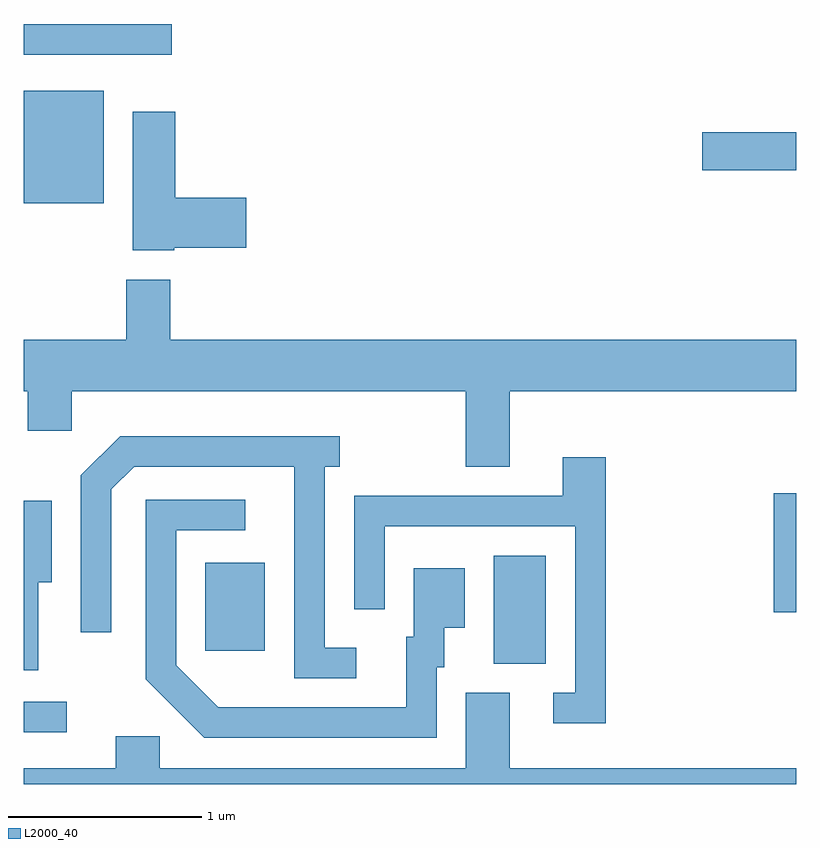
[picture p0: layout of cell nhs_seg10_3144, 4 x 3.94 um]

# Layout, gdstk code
import gdstk
lib = gdstk.Library(unit=1e-6, precision=1e-09)
def R(c, l, rs):  # rectangles x0, y0, x1, y1
    for r in rs: c.add(gdstk.rectangle(r[:2], r[2:], *l))
def P(c, l, *ps):  # polygons
    for p in ps: c.add(gdstk.Polygon(p, *l))
L2000_40 = (2000, 40)

nhs_seg10_3144 = lib.new_cell('nhs_seg10_3144')
R(nhs_seg10_3144, L2000_40, [(277.611,2138.791,277.833,2138.949), (280.046,2139.146,280.314,2139.704), (278.551,2139.211,278.859,2139.669), (281.496,2139.411,281.611,2140.029), (277.611,2141.531,278.024,2142.114), (281.126,2141.701,281.611,2141.899), (277.611,2142.301,278.378,2142.459)])
P(nhs_seg10_3144, L2000_40, [(278.39,2141.301),(278.764,2141.301),(278.764,2141.559),(278.394,2141.559),(278.394,2142.004),(278.176,2142.004),(278.176,2141.286),(278.39,2141.286)],
  [(280.129,2140.556),(281.611,2140.556),(281.611,2140.824),(278.369,2140.824),(278.369,2141.134),(278.141,2141.134),(278.141,2140.824),(277.611,2140.824),(277.611,2140.556),(277.631,2140.556),(277.631,2140.351),(277.859,2140.351),(277.859,2140.556),(279.901,2140.556),(279.901,2140.166),(280.129,2140.166)],
  [(279.333,2139.229),(279.169,2139.229),(279.169,2140.166),(279.248,2140.166),(279.248,2140.324),(278.109,2140.324),(277.906,2140.122),(277.906,2139.308),(278.064,2139.308),(278.064,2140.049),(278.182,2140.166),(279.011,2140.166),(279.011,2139.071),(279.333,2139.071)],
  [(280.624,2140.214),(280.401,2140.214),(280.401,2140.014),(279.321,2140.014),(279.321,2139.428),(279.479,2139.428),(279.479,2139.856),(280.466,2139.856),(280.466,2138.994),(280.353,2138.994),(280.353,2138.836),(280.624,2138.836)],
  [(279.749,2139.126),(279.789,2139.126),(279.789,2139.331),(279.894,2139.331),(279.894,2139.639),(279.631,2139.639),(279.631,2139.284),(279.591,2139.284),(279.591,2138.919),(278.617,2138.919),(278.399,2139.137),(278.399,2139.836),(278.758,2139.836),(278.758,2139.994),(278.241,2139.994),(278.241,2139.064),(278.544,2138.761),(279.749,2138.761)],
  [(277.684,2139.566),(277.754,2139.566),(277.754,2139.989),(277.611,2139.989),(277.611,2139.111),(277.684,2139.111)],
  [(281.611,2138.604),(280.129,2138.604),(280.129,2138.994),(279.901,2138.994),(279.901,2138.604),(278.314,2138.604),(278.314,2138.769),(278.086,2138.769),(278.086,2138.604),(277.611,2138.604),(277.611,2138.522),(281.611,2138.522)])

lib.write_gds('nhs_seg10_3144.gds')
